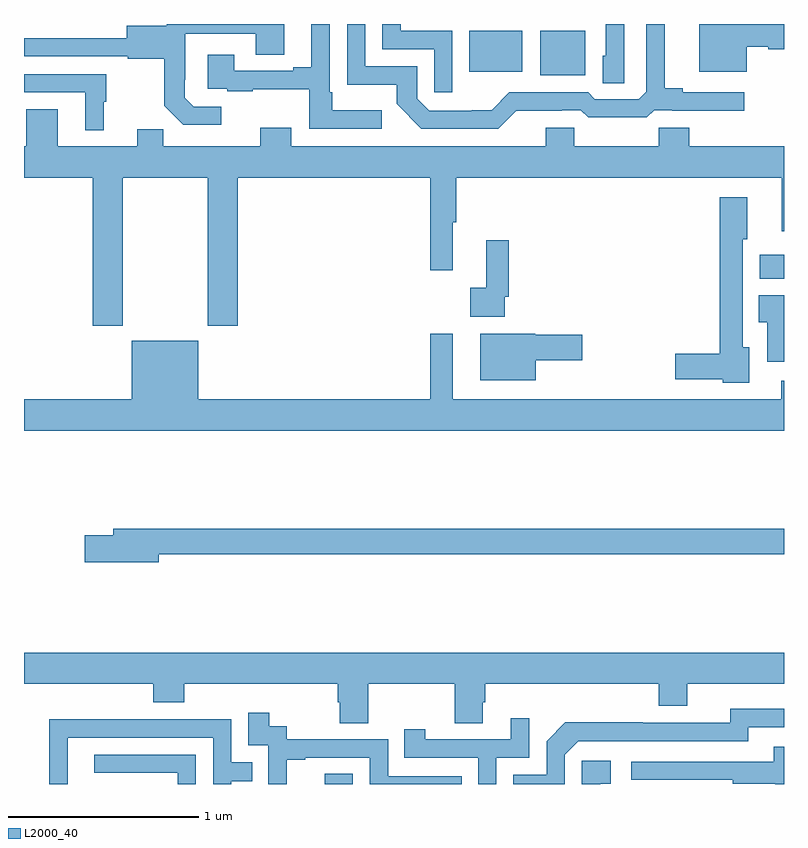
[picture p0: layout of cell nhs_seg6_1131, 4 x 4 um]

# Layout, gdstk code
import gdstk
lib = gdstk.Library(unit=1e-6, precision=1e-09)
def R(c, l, rs):  # rectangles x0, y0, x1, y1
    for r in rs: c.add(gdstk.rectangle(r[:2], r[2:], *l))
def P(c, l, *ps):  # polygons
    for p in ps: c.add(gdstk.Polygon(p, *l))
L2000_40 = (2000, 40)

nhs_seg6_1131 = lib.new_cell('nhs_seg6_1131')
R(nhs_seg6_1131, L2000_40, [(182.583,921.5,182.73,921.553), (184.872,924.158,185,924.286), (183.716,925.229,183.955,925.465), (183.344,925.25,183.622,925.465)])
P(nhs_seg6_1131, L2000_40, [(183.59,925.043),(183.83,925.043),(183.83,925.047),(183.93,925.047),(183.97,925.008),(184.277,925.008),(184.317,925.047),(184.411,925.047),(184.411,925.043),(184.792,925.043),(184.792,925.14),(184.468,925.14),(184.468,925.163),(184.373,925.163),(184.373,925.5),(184.275,925.5),(184.275,925.143),(184.236,925.104),(184.005,925.104),(183.969,925.14),(183.555,925.14),(183.461,925.046),(183.356,925.046),(183.356,925.044),(183.132,925.044),(183.069,925.107),(183.069,925.278),(182.796,925.278),(182.796,925.5),(182.7,925.5),(182.7,925.181),(182.962,925.181),(182.962,925.079),(183.092,924.948),(183.495,924.948)],
  [(182.038,925.065),(181.893,925.065),(181.846,925.112),(181.846,925.207),(181.848,925.207),(181.848,925.448),(182.219,925.448),(182.219,925.339),(182.371,925.339),(182.371,925.5),(181.752,925.5),(181.752,925.492),(181.541,925.492),(181.541,925.425),(181,925.425),(181,925.329),(181.545,925.329),(181.545,925.317),(181.737,925.317),(181.737,925.071),(181.837,924.971),(182.038,924.971)],
  [(184.804,925.379),(184.917,925.379),(184.917,925.367),(185,925.367),(185,925.5),(184.553,925.5),(184.553,925.25),(184.804,925.25)],
  [(182.884,925.045),(182.623,925.045),(182.623,925.141),(182.61,925.141),(182.61,925.5),(182.513,925.5),(182.513,925.273),(182.417,925.273),(182.417,925.254),(182.107,925.254),(182.107,925.339),(181.967,925.339),(181.967,925.158),(182.071,925.158),(182.071,925.146),(182.203,925.146),(182.203,925.157),(182.502,925.157),(182.502,924.948),(182.884,924.948)],
  [(183.255,925.464),(182.982,925.464),(182.982,925.5),(182.886,925.5),(182.886,925.368),(183.159,925.368),(183.159,925.14),(183.255,925.14)],
  [(184.158,925.5),(184.062,925.5),(184.062,925.332),(184.046,925.332),(184.046,925.189),(184.158,925.189)],
  [(181.42,925.092),(181.432,925.092),(181.432,925.236),(181,925.236),(181,925.14),(181.322,925.14),(181.322,924.941),(181.42,924.941)],
  [(181.521,924.692),(181.966,924.692),(181.966,923.913),(182.126,923.913),(182.126,924.692),(183.139,924.692),(183.139,924.204),(183.257,924.204),(183.257,924.456),(183.275,924.456),(183.275,924.692),(184.988,924.692),(184.988,924.408),(185,924.408),(185,924.856),(184.502,924.856),(184.502,924.954),(184.342,924.954),(184.342,924.856),(183.897,924.856),(183.897,924.954),(183.746,924.954),(183.746,924.856),(182.407,924.856),(182.407,924.955),(182.243,924.955),(182.243,924.856),(181.733,924.856),(181.733,924.947),(181.595,924.947),(181.595,924.856),(181.177,924.856),(181.177,925.051),(181.013,925.051),(181.013,924.856),(181,924.856),(181,924.692),(181.361,924.692),(181.361,923.913),(181.521,923.913)],
  [(184.816,923.799),(184.783,923.799),(184.783,924.366),(184.807,924.366),(184.807,924.589),(184.661,924.589),(184.661,923.765),(184.428,923.765),(184.428,923.63),(184.677,923.63),(184.677,923.612),(184.816,923.612)],
  [(183.531,924.064),(183.551,924.064),(183.551,924.361),(183.434,924.361),(183.434,924.113),(183.348,924.113),(183.348,923.96),(183.531,923.96)],
  [(185,924.073),(184.868,924.073),(184.868,923.929),(184.913,923.929),(184.913,923.723),(185,923.723)],
  [(185,923.623),(184.985,923.623),(184.985,923.524),(183.256,923.524),(183.256,923.869),(183.139,923.869),(183.139,923.524),(181.918,923.524),(181.918,923.833),(181.568,923.833),(181.568,923.524),(181,923.524),(181,923.36),(185,923.36)],
  [(183.694,923.729),(183.937,923.729),(183.937,923.864),(183.69,923.864),(183.69,923.869),(183.401,923.869),(183.401,923.624),(183.694,923.624)],
  [(181.708,922.708),(185,922.708),(185,922.844),(181.469,922.844),(181.469,922.808),(181.32,922.808),(181.32,922.666),(181.708,922.666)],
  [(182.811,922.028),(183.268,922.028),(183.268,921.82),(183.415,921.82),(183.415,921.93),(183.428,921.93),(183.428,922.028),(184.34,922.028),(184.34,921.911),(184.492,921.911),(184.492,922.028),(185,922.028),(185,922.192),(181,922.192),(181,922.028),(181.679,922.028),(181.679,921.929),(181.844,921.929),(181.844,922.028),(182.651,922.028),(182.651,921.93),(182.663,921.93),(182.663,921.82),(182.811,921.82)],
  [(183.846,921.654),(183.918,921.726),(184.812,921.726),(184.812,921.798),(185,921.798),(185,921.895),(184.716,921.895),(184.716,921.822),(184.256,921.822),(184.256,921.824),(183.848,921.824),(183.75,921.726),(183.75,921.549),(183.576,921.549),(183.576,921.5),(183.846,921.5)],
  [(182.384,921.627),(182.479,921.627),(182.479,921.639),(182.82,921.639),(182.82,921.5),(183.305,921.5),(183.305,921.54),(182.916,921.54),(182.916,921.735),(182.382,921.735),(182.382,921.804),(182.29,921.804),(182.29,921.874),(182.181,921.874),(182.181,921.705),(182.286,921.705),(182.286,921.5),(182.384,921.5)],
  [(183.486,921.639),(183.66,921.639),(183.66,921.847),(183.563,921.847),(183.563,921.735),(183.112,921.735),(183.112,921.787),(183.001,921.787),(183.001,921.639),(183.39,921.639),(183.39,921.5),(183.486,921.5)],
  [(181.23,921.744),(181.995,921.744),(181.995,921.5),(182.091,921.5),(182.091,921.514),(182.201,921.514),(182.201,921.615),(182.091,921.615),(182.091,921.84),(181.595,921.84),(181.595,921.842),(181.132,921.842),(181.132,921.535),(181.134,921.535),(181.134,921.5),(181.23,921.5)],
  [(185,921.697),(184.945,921.697),(184.945,921.618),(184.197,921.618),(184.197,921.522),(184.729,921.522),(184.729,921.502),(184.953,921.502),(184.953,921.5),(185,921.5)],
  [(181.905,921.654),(181.371,921.654),(181.371,921.558),(181.809,921.558),(181.809,921.5),(181.905,921.5)],
  [(184.034,921.501),(184.087,921.501),(184.087,921.622),(183.936,921.622),(183.936,921.5),(184.034,921.5)])

lib.write_gds('nhs_seg6_1131.gds')
